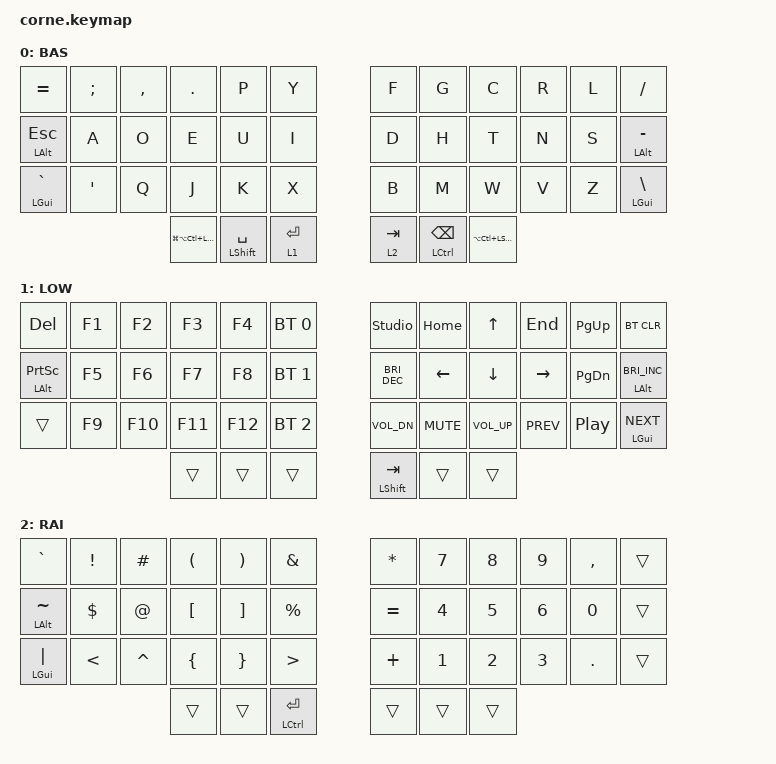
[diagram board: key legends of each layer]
/*
 * Copyright (c) 2020 The ZMK Contributors
 *
 * SPDX-License-Identifier: MIT
 */

#include <behaviors.dtsi>
#include <dt-bindings/zmk/keys.h>
#include <dt-bindings/zmk/bt.h>
#include <dt-bindings/zmk/outputs.h>
#include <dt-bindings/zmk/ext_power.h>
#include <dt-bindings/led/led.h>
#include <dt-bindings/zmk/backlight.h>
#include <dt-bindings/zmk/rgb.h>
#include <dt-bindings/zmk/reset.h>

&led_strip {
    chain-length = <27>;
};

/ {
    keymap {
        compatible = "zmk,keymap";

        default_layer {
            display-name = "BAS";
            bindings = <
&kp EQUAL       &kp SEMI  &kp COMMA  &kp DOT                &kp P          &kp Y        &kp F      &kp G           &kp C              &kp R  &kp L     &kp FSLH
&mt LALT ESC    &kp A     &kp O      &kp E                  &kp U          &kp I        &kp D      &kp H           &kp T              &kp N  &kp S     &mt LALT MINUS
&mt LGUI GRAVE  &kp SQT   &kp Q      &kp J                  &kp K          &kp X        &kp B      &kp M           &kp W              &kp V  &kp Z     &mt LGUI BSLH
                                     &kp LG(LA(LC(LSHFT)))  &mt LSHFT SPC  &lt 1 RET    &lt 2 TAB  &mt LCTRL BSPC  &kp LA(LC(LSHFT))
            >;
        };

        lower_layer {
            display-name = "LOW";
            bindings = <
&kp DEL               &kp F1  &kp F2   &kp F3   &kp F4   &bt BT_SEL 0     &studio_unlock  &kp HOME    &kp UP        &kp END     &kp PG_UP  &bt BT_CLR
&mt LALT PRINTSCREEN  &kp F5  &kp F6   &kp F7   &kp F8   &bt BT_SEL 1     &kp C_BRI_DEC   &kp LEFT    &kp DOWN      &kp RIGHT   &kp PG_DN  &mt LALT C_BRI_INC
&trans                &kp F9  &kp F10  &kp F11  &kp F12  &bt BT_SEL 2     &kp C_VOL_DN    &kp C_MUTE  &kp C_VOL_UP  &kp C_PREV  &kp C_PP   &mt LGUI C_NEXT
                                       &trans   &trans   &trans           &mt LSHFT TAB   &trans      &trans
            >;
        };

        raise_layer {
            display-name = "RAI";
            bindings = <
&kp GRAVE       &kp EXCL    &kp HASH   &kp LPAR  &kp RPAR  &kp AMPS         &kp ASTERISK  &kp N7  &kp N8  &kp N9  &kp COMMA  &trans
&mt LALT TILDE  &kp DOLLAR  &kp AT     &kp LBKT  &kp RBKT  &kp PERCENT      &kp EQUAL     &kp N4  &kp N5  &kp N6  &kp N0      &trans
&mt LGUI PIPE   &kp LT      &kp CARET  &kp LBRC  &kp RBRC  &kp GT           &kp PLUS      &kp N1  &kp N2  &kp N3  &kp DOT    &trans
                                       &trans    &trans    &mt LCTRL RET    &trans  &trans  &trans
            >;
        };
        extra_1 {
            status = "reserved";
        };

        extra_2 {
            status = "reserved";
        };

        extra_3 {
            status = "reserved";
        };
    };
};
